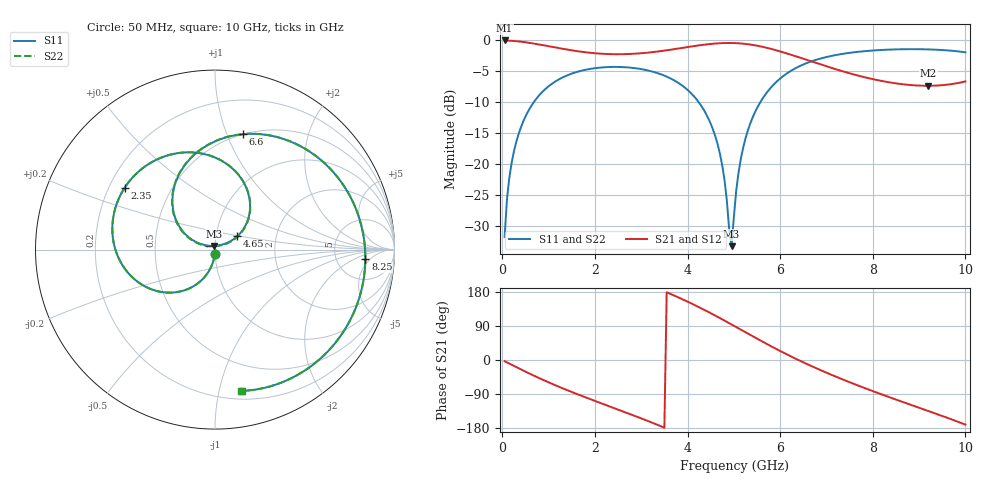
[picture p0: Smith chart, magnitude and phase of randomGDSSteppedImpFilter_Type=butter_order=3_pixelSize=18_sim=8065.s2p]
! freq	dB(S11)	phase(S11)	dB(S12)	phase(S12)
!  dB(S21)	phase(S21)	dB(S22)	phase(S22)
!S-par simulation data
#  GHz  S  DB  R 50
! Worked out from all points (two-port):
!   200 points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, 50 MHz to 10 GHz, reference 50 ohm
!   highest |S21| = -0.01 dB at 50 MHz (marker M1); lowest = -7.3 dB at 9.2 GHz (marker M2)
!   |S21| within 3 dB of the highest: start of sweep to 6.517 GHz
!   lowest |S11| = -33.3 dB at 4.95 GHz (marker M3), VSWR 1.04, Z = 49.4 + j2.06 ohm
!   |S11| at or under -10 dB: start of sweep to 680.4 MHz; 4.242 GHz to 5.572 GHz (1.33 GHz wide, 27.1 % of centre)
!   |S22| runs from -34.5 to -1.4 dB; largest |S21 - S12| = 0
!   S11 on the Smith chart (normalised r, x): 50 MHz: 1.00, -0.05; 2.35 GHz: 0.26, +0.29; 4.65 GHz: 1.27, +0.19; 6.6 GHz: 0.50, +1.14; 8.25 GHz: 10, -4; 10 GHz: 0.27, -1.17
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0.05  -31.80 -93.0  -0.01 -3.2  -0.01 -3.2  -31.80 -93.0
0.2  -19.88 -102.9  -0.07 -12.5  -0.07 -12.5  -19.88 -102.9
0.5  -12.32 -121.1  -0.30 -30.7  -0.30 -30.7  -12.32 -121.1
1.05  -7.13 -152.1  -1.01 -61.6  -1.01 -61.6  -7.13 -152.1
1.75  -4.83 173.2  -1.88 -96.3  -1.88 -96.3  -4.83 173.1
2.35  -4.29 145.7  -2.22 -123.9  -2.22 -123.9  -4.29 145.6
3.4  -5.41 96.6  -1.76 -173.6  -1.76 -173.6  -5.41 96.5
4.05  -8.35 62.5  -1.02 151.1  -1.02 151.1  -8.35 62.2
4.65  -16.81 30.8  -0.48 113.9  -0.48 113.9  -16.83 29.8
4.8  -22.68 29.2  -0.42 103.9  -0.42 103.9  -22.77 27.1
4.95  -33.29 106.0  -0.42 93.8  -0.42 93.8  -34.49 108.0
5.05  -24.41 155.6  -0.44 87.0  -0.44 87.0  -24.56 158.4
5.25  -15.90 155.0  -0.57 73.3  -0.57 73.3  -15.92 156.1
5.55  -10.27 138.5  -0.93 53.0  -0.93 53.0  -10.28 139.1
6.05  -5.87 108.0  -1.89 20.7  -1.89 20.7  -5.87 108.4
6.6  -3.59 76.4  -3.21 -11.8  -3.21 -11.8  -3.59 76.7
6.7  -3.32 71.0  -3.46 -17.4  -3.46 -17.4  -3.33 71.2
7.55  -1.96 28.2  -5.43 -61.1  -5.43 -61.1  -1.96 28.3
8.25  -1.52 -3.6  -6.64 -93.4  -6.64 -93.4  -1.52 -3.5
8.35  -1.49 -7.9  -6.78 -97.8  -6.78 -97.8  -1.49 -7.9
9.2  -1.46 -44.1  -7.34 -134.6  -7.34 -134.6  -1.46 -44.1
10  -1.92 -79.3  -6.64 -170.6  -6.64 -170.6  -1.93 -79.7
